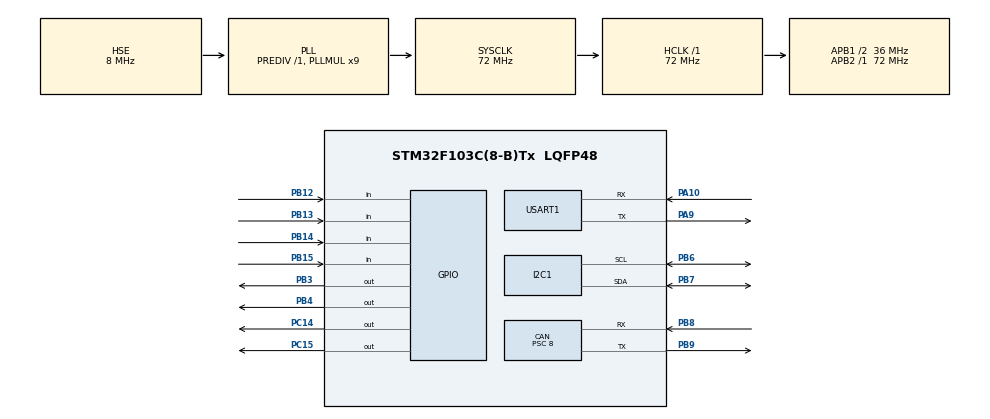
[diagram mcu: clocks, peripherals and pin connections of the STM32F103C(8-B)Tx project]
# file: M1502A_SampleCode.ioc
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CAN.BS1=CAN_BS1_6TQ
CAN.BS2=CAN_BS2_2TQ
CAN.CalculateBaudRate=500000
CAN.CalculateTimeBit=2000
CAN.CalculateTimeQuantum=222.22222222222223
CAN.Prescaler=8
CAN.SJW=CAN_SJW_2TQ
I2C1.I2C_Mode=I2C_Fast
Mcu.Family=STM32F1
Mcu.Name=STM32F103C(8-B)Tx
Mcu.Package=LQFP48
NVIC.CAN1_RX1_IRQn=true\:0\:0\:false\:false\:true\:true\:true\:true
NVIC.PriorityGroup=NVIC_PRIORITYGROUP_4
NVIC.USB_LP_CAN1_RX0_IRQn=true\:0\:0\:false\:false\:true\:true\:true\:true
PA10.Mode=Asynchronous
PA10.Signal=USART1_RX
PA13.Mode=Serial_Wire
PA13.Signal=SYS_JTMS-SWDIO
PA14.Mode=Serial_Wire
PA14.Signal=SYS_JTCK-SWCLK
PA9.Mode=Asynchronous
PA9.Signal=USART1_TX
PB12.Signal=GPIO_Input
PB13.Signal=GPIO_Input
PB14.Signal=GPIO_Input
PB15.Signal=GPIO_Input
PB3.Signal=GPIO_Output
PB4.Signal=GPIO_Output
PB6.Mode=I2C
PB6.Signal=I2C1_SCL
PB7.Mode=I2C
PB7.Signal=I2C1_SDA
PB8.Mode=CAN_Activate
PB8.Signal=CAN_RX
PB9.Mode=CAN_Activate
PB9.Signal=CAN_TX
PC14-OSC32_IN.Signal=GPIO_Output
PC15-OSC32_OUT.Signal=GPIO_Output
PD0-OSC_IN.Mode=HSE-External-Oscillator
PD0-OSC_IN.Signal=RCC_OSC_IN
PD1-OSC_OUT.Mode=HSE-External-Oscillator
PD1-OSC_OUT.Signal=RCC_OSC_OUT
ProjectManager.HeapSize=0x200
ProjectManager.StackSize=0x400
ProjectManager.TargetToolchain=Makefile
RCC.AHBFreq_Value=72000000
RCC.APB1CLKDivider=RCC_HCLK_DIV2
RCC.APB1Freq_Value=36000000
RCC.APB1TimFreq_Value=72000000
RCC.APB2Freq_Value=72000000
RCC.APB2TimFreq_Value=72000000
RCC.HCLKFreq_Value=72000000
RCC.PLLMUL=RCC_PLL_MUL9
RCC.PLLSourceVirtual=RCC_PLLSOURCE_HSE
RCC.SYSCLKFreq_VALUE=72000000
RCC.SYSCLKSource=RCC_SYSCLKSOURCE_PLLCLK
RCC.USBFreq_Value=72000000
USART1.VirtualMode=VM_ASYNC
board=custom

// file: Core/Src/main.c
/* USER CODE BEGIN Header */
/**
  ******************************************************************************
  * @file           : main.c
  * @brief          : Main program body
  ******************************************************************************
  * @attention
  *
  * Copyright (c) 2021 STMicroelectronics.
  * All rights reserved.
  *
  * This software is licensed under terms that can be found in the LICENSE file
  * in the root directory of this software component.
  * If no LICENSE file comes with this software, it is provided AS-IS.
  *
  ******************************************************************************
  */
/* USER CODE END Header */
#include "main.h"
#include "can.h"
#include "i2c.h"
#include "usart.h"
#include "gpio.h"

/* USER CODE BEGIN PV */
extern CAN_TxHeaderTypeDef   TxHeader;
extern uint8_t               TxData[8];
extern uint8_t               RxData[8];
uint8_t uart_rx_data[5];  // UART 接收单字节数�?
int16_t Speed = 0;     // 电机速度

//only Received element
uint8_t Temp;//FeedBack Temp of motor
/* USER CODE END PV */

void SystemClock_Config(void);

int main(void)
{

  /* MCU Configuration--------------------------------------------------------*/

  /* Reset of all peripherals, Initializes the Flash interface and the Systick. */
  HAL_Init();

  /* Configure the system clock */
  SystemClock_Config();

  /* Initialize all configured peripherals */
  MX_GPIO_Init();
  MX_CAN_Init();
  MX_I2C1_Init();
  MX_USART1_UART_Init();
  /* USER CODE BEGIN 2 */

	// int16_t Speed=0;//Speed of motor 1
	HAL_UART_Receive_IT(&huart1, &uart_rx_data, sizeof(uart_rx_data));

  /* USER CODE END 2 */

  /* Infinite loop */
  /* USER CODE BEGIN WHILE */
	Motor_Calibration();
	while (1)
	{
		LED1OFF;
		LED2OFF;
		LED3OFF;
		LED4OFF;
		switch(KEY_Scan())
		{
			case up:
			{
				LED3ON;
				Speed++;
				break;
			}
			case down:
			{
				LED4ON;
				Speed--;
				break;
			}
			case enter:
			{
				LED2ON;
				Motor_Drive(Speed,1);
				break;
			}
			case back:
			{
				LED1ON;
				Speed=0;
				Motor_Drive(Speed,1);
				break;
			}
			default:break;
		}
		 HAL_Delay(50); // 防止按键抖动
	}
    /* USER CODE END WHILE */

}

void SystemClock_Config(void)
{
  RCC_OscInitTypeDef RCC_OscInitStruct = {0};
  RCC_ClkInitTypeDef RCC_ClkInitStruct = {0};

  /** Initializes the RCC Oscillators according to the specified parameters
  * in the RCC_OscInitTypeDef structure.
  */
  RCC_OscInitStruct.OscillatorType = RCC_OSCILLATORTYPE_HSE;
  RCC_OscInitStruct.HSEState = RCC_HSE_ON;
  RCC_OscInitStruct.HSEPredivValue = RCC_HSE_PREDIV_DIV1;
  RCC_OscInitStruct.HSIState = RCC_HSI_ON;
  RCC_OscInitStruct.PLL.PLLState = RCC_PLL_ON;
  RCC_OscInitStruct.PLL.PLLSource = RCC_PLLSOURCE_HSE;
  RCC_OscInitStruct.PLL.PLLMUL = RCC_PLL_MUL9;
  if (HAL_RCC_OscConfig(&RCC_OscInitStruct) != HAL_OK)
  {
    Error_Handler();
  }

  /** Initializes the CPU, AHB and APB buses clocks
  */
  RCC_ClkInitStruct.ClockType = RCC_CLOCKTYPE_HCLK|RCC_CLOCKTYPE_SYSCLK
                              |RCC_CLOCKTYPE_PCLK1|RCC_CLOCKTYPE_PCLK2;
  RCC_ClkInitStruct.SYSCLKSource = RCC_SYSCLKSOURCE_PLLCLK;
  RCC_ClkInitStruct.AHBCLKDivider = RCC_SYSCLK_DIV1;
  RCC_ClkInitStruct.APB1CLKDivider = RCC_HCLK_DIV2;
  RCC_ClkInitStruct.APB2CLKDivider = RCC_HCLK_DIV1;

  if (HAL_RCC_ClockConfig(&RCC_ClkInitStruct, FLASH_LATENCY_2) != HAL_OK)
  {
    Error_Handler();
  }
}

/* USER CODE BEGIN 4 */
/**
	*	@name		Motor_Set_FeedBack
  * @brief  This function is used to set the feedback mode of the motor
  * @param  FeedBack If it is greater than 0x80, you need to obtain the
						relevant value through the query function,Less than 0x40,
						the motor actively reports fixed information, and the value
						determines the reporting time interval (default).ID determines
						the data storage location of the data frame.
  * @retval FBFeedback
  */
void UART_SendResponse(UART_HandleTypeDef *huart, uint8_t *data, uint16_t size) {
    // 使用HAL_UART_Transmit_IT进行异步发送
    HAL_UART_Transmit_IT(huart, data, size);
}
void HAL_UART_RxCpltCallback(UART_HandleTypeDef *huart) {
    if (huart->Instance == USART1) {
        if (strncmp((char *)uart_rx_data, "up", 2) == 0) {
            Speed++;
            LED3ON;
        } else if (strncmp((char *)uart_rx_data, "down", 4) == 0) {
            Speed--;
            LED4ON;
        } else if (strncmp((char *)uart_rx_data, "enter", 5) == 0) {
            Motor_Drive(Speed, 1);
            LED2ON;
        } else if (strncmp((char *)uart_rx_data, "back", 4) == 0) {
            Speed = 0;
            Motor_Drive(Speed, 1);
            LED1ON;
        }

        // 准备响应消息
        uint8_t response[] = "Received";
        UART_SendResponse(huart, response, sizeof(response) - 1); // 发送响应，不包括null终止符

        // 清除缓冲�?
        memset(uart_rx_data, 0, sizeof(uart_rx_data));
        // 重新启动 UART 接收中断
        HAL_UART_Receive_IT(&huart1, uart_rx_data, sizeof(uart_rx_data));
    }
}

uint8_t Motor_Set_FeedBack(unsigned char FeedBack,uint8_t ID)
{
	uint16_t i=0;
	while(i<7)
	{
		TxData[i]=0;
		i++;
	}
	TxData[ID-1]=FeedBack;
	TxHeader.StdId=0x106;
	USER_CAN_Send();
	return RxData[0];
}

/**
	*	@name		Motor_Calibration
  * @brief  This function is used to Motor calibration before operation
  * @param  None
  * @retval None
  */
void Motor_Calibration(void)
{
	uint16_t i=0;
	while(i<8)
	{
		TxData[i++]=0;
	}
	TxHeader.StdId=0x104;
	USER_CAN_Send();
}

/**
	*	@name		Ck_Check
  * @brief  This function is used to The feedback method is to query and
						specify the values of three objects on the premise of query.
						0x01:Query speed 0x02:Query torque current 0x03:Query temperature
						0x04:Query location 0x05:Query fault code 0x06:Query mode.
  * @param  ID Check1 Check2 Check3 reporter
  * @retval None
  */
void Ck_Check(uint8_t ID,uint8_t Check1,uint8_t Check2,uint8_t Check3,reporter* reporter)
{
	TxData[0]=ID;
	TxData[1]=Check1;
	TxData[2]=Check2;
	TxData[3]=Check3;
	TxData[4]=0xAA;
	TxData[5]=0;
	TxData[6]=0;
	TxData[7]=0;
	TxHeader.StdId=0x107;
	USER_CAN_Send();

	switch(Check1)
	{
		case 1:
		{
			reporter->FBSpeed=(RxData[0]<<8)+RxData[1];
			break;
		}
		case 2:
		{
			reporter->ECurru=(RxData[0]<<8)+RxData[1];
			break;
		}
		case 3:
		{
			Temp=(RxData[0]<<8)+RxData[1];
			break;
		}
		case 4:
		{
			reporter->Position=(RxData[0]<<8)+RxData[1];
			break;
		}
		case 5:
		{
			reporter->ErrCode=(RxData[0]<<8)+RxData[1];
			break;
		}
		case 6:
		{
			reporter->FBMode=(RxData[0]<<8)+RxData[1];
			break;
		}
	}

	switch(Check2)
	{
		case 1:
		{
			reporter->FBSpeed=(RxData[2]<<8)+RxData[3];
			break;
		}
		case 2:
		{
			reporter->ECurru=(RxData[2]<<8)+RxData[3];
			break;
		}
		case 3:
		{
			Temp=(RxData[2]<<8)+RxData[3];
			break;
		}
		case 4:
		{
			reporter->Position=(RxData[2]<<8)+RxData[3];
			break;
		}
		case 5:
		{
			reporter->ErrCode=(RxData[2]<<8)+RxData[3];
			break;
		}
		case 6:
		{
			reporter->FBMode=(RxData[2]<<8)+RxData[3];
			break;
		}
	}

	switch(Check3)
	{
		case 1:
		{
			reporter->FBSpeed=(RxData[4]<<8)+RxData[5];
			break;
		}
		case 2:
		{
			reporter->ECurru=(RxData[4]<<8)+RxData[5];
			break;
		}
		case 3:
		{
			Temp=(RxData[4]<<8)+RxData[5];
			break;
		}
		case 4:
		{
			reporter->Position=(RxData[4]<<8)+RxData[5];
			break;
		}
		case 5:
		{
			reporter->ErrCode=(RxData[4]<<8)+RxData[5];
			break;
		}
		case 6:
		{
			reporter->FBMode=(RxData[4]<<8)+RxData[5];
			break;
		}

	}
}
/**
	*	@name		Obtain_Motor_Report
  * @brief  This function is used to Obtain the feedback
						information actively reported by the motor
  * @param  report
  * @retval None
  */
void Obtain_Motor_Report(reporter*report)
{
	report->ECurru=(RxData[2]<<8)+RxData[3];
	report->FBSpeed=(RxData[0]<<8)+RxData[1];
	report->Position=(RxData[4]<<8)+RxData[5];
	report->ErrCode=RxData[6];
	report->FBMode=RxData[7];
}
/**
	*	@name		ID_Set
  * @brief  This function is used to Set motor ID
  * @param  None
  * @retval FeedBack ID
  */
uint8_t ID_Set(uint8_t ID)
{
	uint16_t i=0;
	while(i<8)
	{
		TxData[i++]=0;
	}
	TxHeader.StdId=0x108;
	TxData[0]=ID;
	USER_CAN_Send();
	return RxData[0];
}

/**
	*	@name		Motor_SetMode
  * @brief  This function is used to Set motor mode
						mode 0x00 open loop 0x01 Current loop
						0x02 Velocity loop 0x03 Position ring
  * @param  Mode
  * @retval FeedBack Mode
  */
uint8_t Motor_SetMode(unsigned char Mode)
{
	uint16_t i=0;
	while(i<8)
	{
		TxData[i++]=0;
	}
	TxData[0]=Mode;
	TxHeader.StdId=0x105;
	USER_CAN_Send();
	return RxData[0];
}
/**
	*	@name		Send
  * @brief  This function is used to The driving motor changes the motion state
						If id = 2, the second data frame of speed or current position value
						is raised by eight bits and the third is lowered by eight bits. ID <= 8
						ID determines the data storage location of the data frame.
  * @param  Speed ID
  * @retval None
  */
void Motor_Drive(uint16_t Speed,uint8_t ID)
{
	uint16_t i=0;
	while(i<8)
	{
		TxData[i++]=0;
	}
	TxData[ID*2-2]=Speed>>8;
	TxData[ID*2-1]=Speed&0x00ff;
	TxHeader.StdId=0x32;
	USER_CAN_Send();
}

/* USER CODE END 4 */

void Error_Handler(void)
{
  __disable_irq();
  while (1)
  {
  }
}
